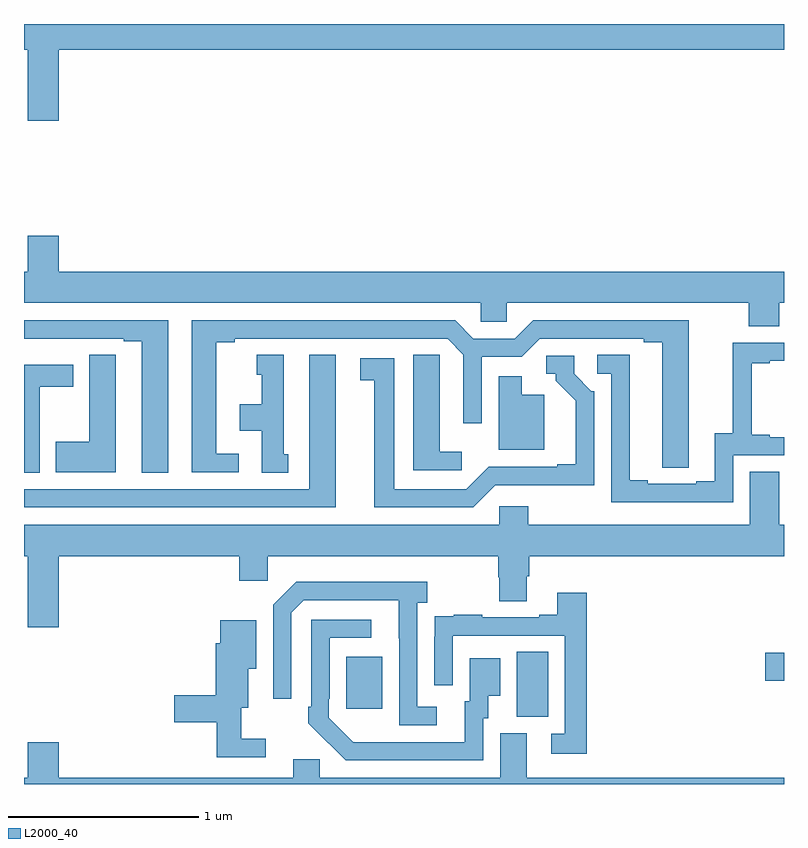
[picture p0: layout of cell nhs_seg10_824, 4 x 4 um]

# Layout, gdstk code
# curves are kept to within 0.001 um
import gdstk
lib = gdstk.Library(unit=1e-6, precision=1e-09)
def R(c, l, rs):  # rectangles x0, y0, x1, y1
    for r in rs: c.add(gdstk.rectangle(r[:2], r[2:], *l))
def P(c, l, *ps):  # polygons
    for p in ps: c.add(gdstk.Polygon(p, *l))
L2000_40 = (2000, 40)

nhs_seg10_824 = lib.new_cell('nhs_seg10_824')
R(nhs_seg10_824, L2000_40, [(155.594,1248.853,155.758,1249.196), (154.697,1248.897,154.885,1249.171), (156.9,1249.043,157,1249.19)])
P(nhs_seg10_824, L2000_40, [(153.184,1252.364),(157,1252.364),(157,1252.5),(153,1252.5),(153,1252.364),(153.02,1252.364),(153.02,1251.99),(153.184,1251.99)],
  [(156.974,1251.032),(157,1251.032),(157,1251.196),(153.184,1251.196),(153.184,1251.385),(153.02,1251.385),(153.02,1251.196),(153,1251.196),(153,1251.032),(155.403,1251.032),(155.403,1250.934),(155.541,1250.934),(155.541,1251.032),(156.814,1251.032),(156.814,1250.908),(156.974,1250.908)],
  [(154.129,1250.238),(154.012,1250.238),(154.012,1250.824),(154.108,1250.824),(154.108,1250.844),(155.229,1250.844),(155.313,1250.76),(155.313,1250.4),(155.409,1250.4),(155.409,1250.748),(155.619,1250.748),(155.715,1250.844),(156.263,1250.844),(156.263,1250.824),(156.359,1250.824),(156.359,1250.164),(156.498,1250.164),(156.499,1250.94),(155.679,1250.94),(155.583,1250.844),(155.365,1250.844),(155.269,1250.94),(153.884,1250.94),(153.884,1250.142),(154.129,1250.142)],
  [(153.76,1250.94),(153,1250.94),(153,1250.844),(153.082,1250.844),(153.082,1250.843),(153.248,1250.843),(153.248,1250.844),(153.524,1250.844),(153.524,1250.829),(153.62,1250.829),(153.62,1250.137),(153.76,1250.137)],
  [(156.732,1250.229),(157,1250.229),(157,1250.325),(156.925,1250.325),(156.925,1250.338),(156.83,1250.338),(156.83,1250.715),(156.925,1250.715),(156.925,1250.727),(157,1250.727),(157,1250.823),(156.73,1250.823),(156.73,1250.345),(156.635,1250.345),(156.635,1250.094),(156.539,1250.094),(156.539,1250.079),(156.283,1250.079),(156.283,1250.099),(156.187,1250.099),(156.187,1250.759),(156.018,1250.759),(156.018,1250.658),(156.09,1250.658),(156.09,1249.983),(156.732,1249.983)],
  [(155.305,1250.248),(155.188,1250.248),(155.188,1250.651),(155.187,1250.651),(155.187,1250.759),(155.048,1250.759),(155.048,1250.151),(155.305,1250.151)],
  [(153.484,1250.651),(153.483,1250.651),(153.483,1250.759),(153.344,1250.759),(153.344,1250.301),(153.167,1250.301),(153.167,1250.141),(153.484,1250.141)],
  [(154.642,1250.758),(154.502,1250.758),(154.502,1250.052),(153,1250.052),(153,1249.956),(154.642,1249.956)],
  [(154.39,1250.235),(154.366,1250.235),(154.366,1250.758),(154.226,1250.758),(154.226,1250.655),(154.25,1250.655),(154.25,1250.5),(154.136,1250.5),(154.136,1250.36),(154.25,1250.36),(154.25,1250.137),(154.39,1250.137)],
  [(155.481,1250.073),(156,1250.072),(156,1250.568),(155.985,1250.568),(155.895,1250.658),(155.895,1250.754),(155.748,1250.754),(155.748,1250.658),(155.798,1250.658),(155.798,1250.623),(155.903,1250.518),(155.903,1250.182),(155.807,1250.182),(155.807,1250.169),(155.445,1250.169),(155.328,1250.052),(154.948,1250.052),(154.948,1250.742),(154.77,1250.742),(154.77,1250.626),(154.844,1250.626),(154.844,1249.956),(155.364,1249.956)],
  [(153.082,1250.59),(153.259,1250.59),(153.259,1250.706),(153,1250.706),(153,1250.137),(153.082,1250.137)],
  [(155.737,1250.548),(155.62,1250.548),(155.62,1250.647),(155.498,1250.647),(155.498,1250.258),(155.737,1250.258)],
  [(153.184,1249.7),(154.133,1249.7),(154.133,1249.569),(154.284,1249.569),(154.284,1249.7),(155.495,1249.7),(155.495,1249.587),(155.5,1249.587),(155.5,1249.462),(155.647,1249.462),(155.647,1249.594),(155.66,1249.594),(155.66,1249.7),(157,1249.7),(157,1249.864),(156.974,1249.864),(156.974,1250.144),(156.821,1250.144),(156.821,1249.864),(155.654,1249.864),(155.654,1249.962),(155.502,1249.962),(155.502,1249.864),(153,1249.864),(153,1249.7),(153.02,1249.7),(153.02,1249.326),(153.184,1249.326)],
  [(155.173,1248.906),(155.07,1248.906),(155.07,1249.454),(155.122,1249.454),(155.122,1249.564),(154.432,1249.564),(154.311,1249.443),(154.311,1248.948),(154.407,1248.948),(154.407,1249.401),(154.473,1249.467),(154.973,1249.467),(154.974,1248.81),(155.173,1248.81)],
  [(155.963,1249.507),(155.807,1249.507),(155.807,1249.39),(155.711,1249.39),(155.711,1249.377),(155.411,1249.377),(155.411,1249.39),(155.263,1249.39),(155.263,1249.383),(155.161,1249.383),(155.161,1249.274),(155.16,1249.274),(155.16,1249.02),(155.256,1249.02),(155.256,1249.281),(155.847,1249.281),(155.847,1248.765),(155.775,1248.765),(155.775,1248.66),(155.963,1248.66)],
  [(155.418,1248.846),(155.443,1248.846),(155.443,1248.965),(155.506,1248.965),(155.506,1249.162),(155.345,1249.162),(155.345,1248.936),(155.321,1248.936),(155.321,1248.72),(154.734,1248.721),(154.605,1248.849),(154.605,1248.949),(154.608,1248.949),(154.608,1249.269),(154.828,1249.269),(154.828,1249.365),(154.512,1249.365),(154.512,1248.907),(154.497,1248.907),(154.497,1248.819),(154.694,1248.624),(155.418,1248.624)],
  [(154.273,1248.739),(154.144,1248.739),(154.144,1248.902),(154.18,1248.902),(154.18,1249.106),(154.222,1249.106),(154.222,1249.363),(154.034,1249.363),(154.034,1249.242),(154.01,1249.242),(154.01,1248.968),(153.792,1248.968),(153.792,1248.826),(154.015,1248.826),(154.015,1248.642),(154.273,1248.642)],
  [(157,1248.532),(155.647,1248.532),(155.647,1248.768),(155.507,1248.768),(155.507,1248.532),(154.557,1248.532),(154.557,1248.63),(154.418,1248.63),(154.418,1248.532),(153.184,1248.532),(153.184,1248.721),(153.02,1248.721),(153.02,1248.532),(153,1248.532),(153,1248.5),(157,1248.5)])

lib.write_gds('nhs_seg10_824.gds')
